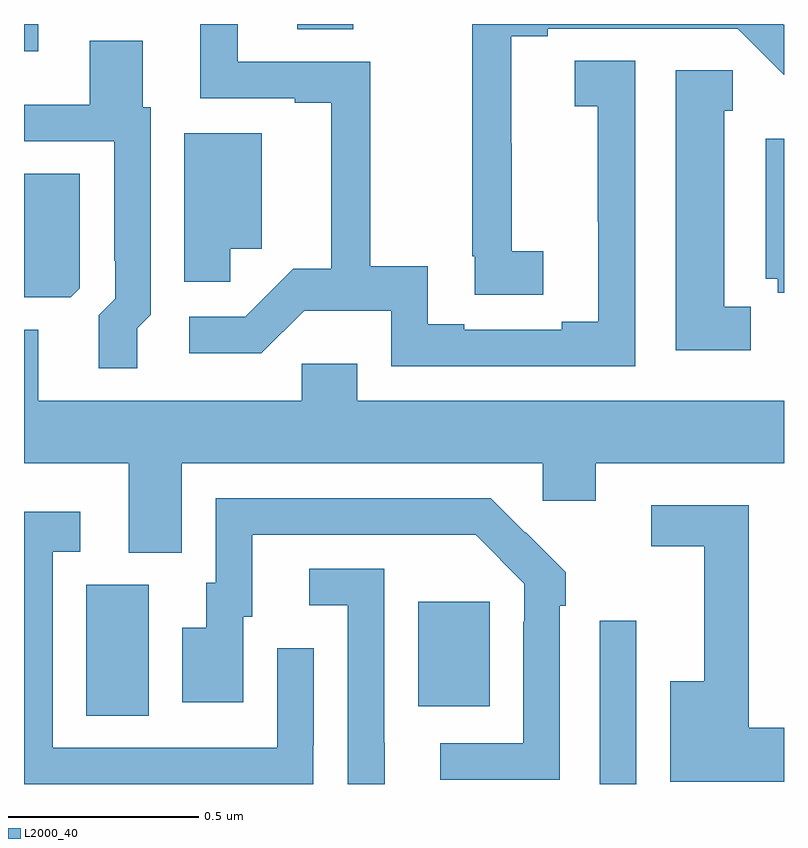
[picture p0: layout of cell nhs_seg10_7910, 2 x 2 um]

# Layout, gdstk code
import gdstk
lib = gdstk.Library(unit=1e-6, precision=1e-09)
def R(c, l, rs):  # rectangles x0, y0, x1, y1
    for r in rs: c.add(gdstk.rectangle(r[:2], r[2:], *l))
def P(c, l, *ps):  # polygons
    for p in ps: c.add(gdstk.Polygon(p, *l))
L2000_40 = (2000, 40)

nhs_seg10_7910 = lib.new_cell('nhs_seg10_7910')
R(nhs_seg10_7910, L2000_40, [(211.515,1271.5,211.611,1271.929), (210.164,1271.68,210.328,1272.024), (211.037,1271.705,211.225,1271.98), (210,1273.428,210.037,1273.5), (210.719,1273.486,210.867,1273.5)])
P(nhs_seg10_7910, L2000_40, [(211.366,1272.902),(211.284,1272.902),(211.284,1273.185),(211.282,1273.185),(211.282,1273.468),(211.378,1273.468),(211.378,1273.488),(211.878,1273.488),(211.999,1273.367),(212,1273.367),(212,1273.498),(211.998,1273.5),(211.18,1273.5),(211.18,1272.889),(211.186,1272.889),(211.186,1272.787),(211.366,1272.787)],
  [(211.608,1273.403),(211.449,1273.403),(211.449,1273.283),(211.51,1273.283),(211.51,1272.979),(211.511,1272.979),(211.511,1272.716),(211.415,1272.716),(211.415,1272.696),(211.159,1272.696),(211.159,1272.71),(211.062,1272.71),(211.062,1272.863),(210.911,1272.863),(210.911,1273.401),(210.562,1273.401),(210.562,1273.5),(210.464,1273.5),(210.464,1273.305),(210.713,1273.305),(210.713,1273.293),(210.809,1273.293),(210.809,1272.856),(210.709,1272.856),(210.582,1272.729),(210.435,1272.729),(210.435,1272.633),(210.624,1272.633),(210.737,1272.746),(210.966,1272.746),(210.966,1272.6),(211.608,1272.6)],
  [(210.298,1272.7),(210.333,1272.735),(210.333,1273.281),(210.313,1273.281),(210.313,1273.456),(210.173,1273.456),(210.173,1273.288),(210,1273.288),(210,1273.191),(210.237,1273.191),(210.237,1272.877),(210.24,1272.877),(210.24,1272.777),(210.197,1272.734),(210.197,1272.594),(210.298,1272.594)],
  [(211.912,1272.756),(211.843,1272.756),(211.843,1273.272),(211.865,1273.272),(211.865,1273.378),(211.715,1273.378),(211.715,1272.641),(211.912,1272.641)],
  [(210.543,1272.908),(210.625,1272.908),(210.625,1273.213),(210.422,1273.213),(210.422,1272.822),(210.543,1272.822)],
  [(212,1273.198),(211.952,1273.198),(211.952,1272.83),(211.984,1272.83),(211.984,1272.793),(212,1272.793)],
  [(210.147,1272.804),(210.147,1273.106),(210,1273.106),(210,1272.781),(210.123,1272.781)],
  [(210.415,1272.344),(211.365,1272.344),(211.365,1272.246),(211.504,1272.246),(211.504,1272.344),(212,1272.344),(212,1272.508),(210.877,1272.508),(210.877,1272.606),(210.731,1272.606),(210.731,1272.508),(210.037,1272.508),(210.037,1272.696),(210,1272.696),(210,1272.344),(210.275,1272.344),(210.275,1272.109),(210.415,1272.109)],
  [(211.41,1271.969),(211.425,1271.969),(211.425,1272.057),(211.32,1272.162),(211.319,1272.161),(211.228,1272.252),(210.504,1272.252),(210.504,1272.03),(210.479,1272.03),(210.479,1271.911),(210.416,1271.911),(210.416,1271.715),(210.577,1271.715),(210.577,1271.94),(210.601,1271.94),(210.601,1272.156),(211.189,1272.156),(211.317,1272.027),(211.317,1271.927),(211.314,1271.927),(211.314,1271.607),(211.095,1271.607),(211.095,1271.511),(211.41,1271.511)],
  [(212,1271.648),(211.907,1271.648),(211.907,1272.234),(211.65,1272.234),(211.65,1272.126),(211.79,1272.126),(211.79,1271.77),(211.7,1271.77),(211.7,1271.506),(212,1271.506)],
  [(210.761,1271.602),(210.762,1271.602),(210.762,1271.857),(210.666,1271.857),(210.666,1271.595),(210.075,1271.595),(210.075,1272.111),(210.148,1272.111),(210.148,1272.217),(210,1272.217),(210,1271.5),(210.761,1271.5)],
  [(210.949,1271.609),(210.948,1271.609),(210.948,1272.066),(210.75,1272.066),(210.75,1271.97),(210.852,1271.97),(210.852,1271.5),(210.949,1271.5)])

lib.write_gds('nhs_seg10_7910.gds')
